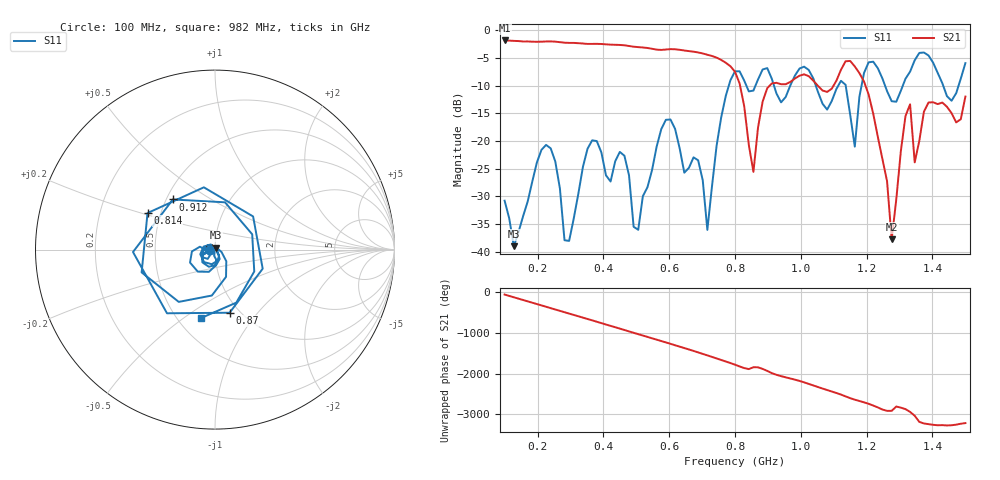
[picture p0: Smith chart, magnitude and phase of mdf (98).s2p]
! NanoVNA-App
! Date: 2025-09-25 15:39:11
! Start: 100MHz Stop: 1,5GHz Points: 101
! S-Parameter data: F S11 S21 S12 S22
# Hz S RI R 50
!  Frequency  S11_Real  S11_Imag  S21_Real  S21_Imag  S12_Real  S12_Imag  S22_Real  S22_Imag
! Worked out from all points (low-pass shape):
!   101 points, 100 MHz to 1.5 GHz, reference 50 ohm
!   highest |S21| = -1.80 dB at 100 MHz (marker M1); lowest = -37.8 dB at 1.276 GHz (marker M2)
!   |S21| within 3 dB of the highest: start of sweep to 739.4 MHz
!   lowest |S11| = -39.0 dB at 128 MHz (marker M3), VSWR 1.02, Z = 50.3 + j1.08 ohm
!   |S11| at or under -10 dB: start of sweep to 781.1 MHz; 1.046 GHz to 1.114 GHz (67.88 MHz wide, 6.29 % of centre); 1.256 GHz to 1.31 GHz (53.65 MHz wide, 4.18 % of centre)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
!   S12 and S22 are empty: the file has one direction only
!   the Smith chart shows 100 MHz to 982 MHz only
!   S11 on the Smith chart (normalised r, x): 100 MHz: 0.94, -0.01; 814 MHz: 0.42, +0.21; 870 MHz: 0.90, -0.73; 912 MHz: 0.54, +0.35; 982 MHz: 0.64, -0.58
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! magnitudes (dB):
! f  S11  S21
! 100 MHz  -30.8  -1.8
! 128 MHz  -39.0  -1.9
! 212 MHz  -21.6  -2.0
! 282 MHz  -37.9  -2.2
! 338 MHz  -24.6  -2.4
! 464 MHz  -22.6  -2.7
! 506 MHz  -36.0  -3.0
! 576 MHz  -17.8  -3.5
! 716 MHz  -36.1  -4.4
! 800 MHz  -7.4  -7.5
! 814 MHz  -7.4  -9.6
! 856 MHz  -10.9  -25.6
! 870 MHz  -8.8  -17.5
! 912 MHz  -8.8  -9.6
! 982 MHz  -8.2  -8.7
! 1.038 GHz  -8.7  -9.1
! 1.164 GHz  -21.0  -6.5
! 1.192 GHz  -7.7  -9.2
! 1.276 GHz  -12.8  -37.8
! 1.332 GHz  -7.4  -13.3
! 1.346 GHz  -5.4  -23.8
! 1.5 GHz  -5.9  -11.9
